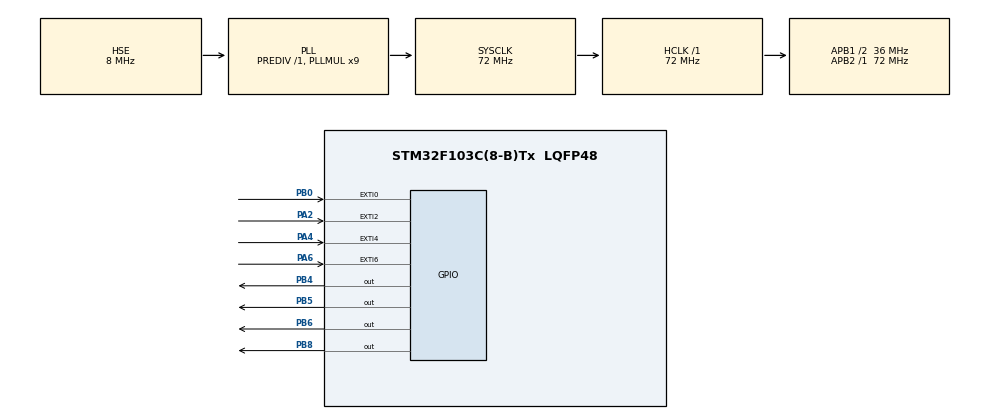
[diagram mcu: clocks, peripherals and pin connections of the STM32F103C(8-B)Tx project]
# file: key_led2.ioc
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Mcu.Family=STM32F1
Mcu.Name=STM32F103C(8-B)Tx
Mcu.Package=LQFP48
NVIC.EXTI0_IRQn=true\:0\:0\:false\:false\:true\:true\:true\:true
NVIC.EXTI2_IRQn=true\:0\:0\:false\:false\:true\:true\:true\:true
NVIC.EXTI4_IRQn=true\:0\:0\:false\:false\:true\:true\:true\:true
NVIC.EXTI9_5_IRQn=true\:0\:0\:false\:false\:true\:true\:true\:true
NVIC.PriorityGroup=NVIC_PRIORITYGROUP_4
PA0-WKUP.Mode=SYS_WakeUp0
PA0-WKUP.Signal=SYS_WKUP
PA13.Mode=Serial_Wire
PA13.Signal=SYS_JTMS-SWDIO
PA14.Mode=Serial_Wire
PA14.Signal=SYS_JTCK-SWCLK
PA2.GPIO_ModeDefaultEXTI=GPIO_MODE_IT_FALLING
PA2.GPIO_PuPd=GPIO_PULLUP
PA2.Signal=GPXTI2
PA4.GPIO_ModeDefaultEXTI=GPIO_MODE_IT_FALLING
PA4.GPIO_PuPd=GPIO_PULLUP
PA4.Signal=GPXTI4
PA6.GPIO_ModeDefaultEXTI=GPIO_MODE_IT_FALLING
PA6.GPIO_PuPd=GPIO_PULLUP
PA6.Signal=GPXTI6
PB0.GPIO_ModeDefaultEXTI=GPIO_MODE_IT_FALLING
PB0.GPIO_PuPd=GPIO_PULLUP
PB0.Signal=GPXTI0
PB4.PinState=GPIO_PIN_SET
PB4.Signal=GPIO_Output
PB5.PinState=GPIO_PIN_SET
PB5.Signal=GPIO_Output
PB6.PinState=GPIO_PIN_SET
PB6.Signal=GPIO_Output
PB8.PinState=GPIO_PIN_SET
PB8.Signal=GPIO_Output
PD0-OSC_IN.Mode=HSE-External-Oscillator
PD0-OSC_IN.Signal=RCC_OSC_IN
PD1-OSC_OUT.Mode=HSE-External-Oscillator
PD1-OSC_OUT.Signal=RCC_OSC_OUT
ProjectManager.HeapSize=0x200
ProjectManager.StackSize=0x400
ProjectManager.TargetToolchain=MDK-ARM V5.32
RCC.AHBFreq_Value=72000000
RCC.APB1CLKDivider=RCC_HCLK_DIV2
RCC.APB1Freq_Value=36000000
RCC.APB1TimFreq_Value=72000000
RCC.APB2Freq_Value=72000000
RCC.APB2TimFreq_Value=72000000
RCC.HCLKFreq_Value=72000000
RCC.PLLMUL=RCC_PLL_MUL9
RCC.PLLSourceVirtual=RCC_PLLSOURCE_HSE
RCC.SYSCLKFreq_VALUE=72000000
RCC.SYSCLKSource=RCC_SYSCLKSOURCE_PLLCLK
RCC.USBFreq_Value=72000000
board=custom

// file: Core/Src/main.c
/* USER CODE BEGIN Header */
/**
  ******************************************************************************
  * @file           : main.c
  * @brief          : Main program body
  ******************************************************************************
  * @attention
  *
  * Copyright (c) 2026 STMicroelectronics.
  * All rights reserved.
  *
  * This software is licensed under terms that can be found in the LICENSE file
  * in the root directory of this software component.
  * If no LICENSE file comes with this software, it is provided AS-IS.
  *
  ******************************************************************************
  */
/* USER CODE END Header */
#include "main.h"
#include "gpio.h"

/* USER CODE BEGIN PD */

/* LED 引脚定义（顺序：LED1~LED4） */
#define LED1_PIN   GPIO_PIN_4
#define LED1_PORT  GPIOB
#define LED2_PIN   GPIO_PIN_5
#define LED2_PORT  GPIOB
#define LED3_PIN   GPIO_PIN_6
#define LED3_PORT  GPIOB
#define LED4_PIN   GPIO_PIN_8
#define LED4_PORT  GPIOB

/* 流水灯移动间隔（毫秒），可调整速度 */
#define FLOW_INTERVAL  500
/* 按键消抖时间 */
#define DEBOUNCE_TIME  50

/* USER CODE END PD */

/* USER CODE BEGIN PV */
/* 当前流水灯模式：0-无，1-前→后，2-后→前，3-内→外，4-外→内 */
volatile uint8_t led_mode = 0;

/* 上一次模式切换的时间戳（用于消抖） */
static uint32_t last_mode_tick = 0;

/* 流水灯步进时间戳 */
static uint32_t last_flow_tick = 0;

/* 所有 LED 引脚和端口的数组，方便循环操作 */
static const uint16_t led_pins[] = {LED1_PIN, LED2_PIN, LED3_PIN, LED4_PIN};
static GPIO_TypeDef* const led_ports[] = {LED1_PORT, LED2_PORT, LED3_PORT, LED4_PORT};
#define LED_COUNT  (sizeof(led_pins)/sizeof(led_pins[0]))

/* USER CODE END PV */

void SystemClock_Config(void);

/* USER CODE BEGIN 0 */

/* 四个流水灯函数声明 */
static void flow_forward(void);
static void flow_backward(void);
static void flow_inner_to_outer(void);
static void flow_outer_to_inner(void);

/* 辅助函数声明 */
static void all_led_off(void);
static void led_on(uint8_t index);
static void set_leds_by_mask(uint8_t mask);
/* USER CODE END 0 */

int main(void)
{

  /* MCU Configuration--------------------------------------------------------*/

  /* Reset of all peripherals, Initializes the Flash interface and the Systick. */
  HAL_Init();

  /* Configure the system clock */
  SystemClock_Config();

  /* Initialize all configured peripherals */
  MX_GPIO_Init();

  /* Infinite loop */
  while (1)
  {

    /* USER CODE BEGIN 3 */

	switch (led_mode)
{
    case 1: flow_forward(); break;
    case 2: flow_backward(); break;
    case 3: flow_inner_to_outer(); break;
    case 4: flow_outer_to_inner(); break;
    default: all_led_off(); break;
}
  }
  /* USER CODE END 3 */
}

void SystemClock_Config(void)
{
  RCC_OscInitTypeDef RCC_OscInitStruct = {0};
  RCC_ClkInitTypeDef RCC_ClkInitStruct = {0};

  /** Initializes the RCC Oscillators according to the specified parameters
  * in the RCC_OscInitTypeDef structure.
  */
  RCC_OscInitStruct.OscillatorType = RCC_OSCILLATORTYPE_HSE;
  RCC_OscInitStruct.HSEState = RCC_HSE_ON;
  RCC_OscInitStruct.HSEPredivValue = RCC_HSE_PREDIV_DIV1;
  RCC_OscInitStruct.HSIState = RCC_HSI_ON;
  RCC_OscInitStruct.PLL.PLLState = RCC_PLL_ON;
  RCC_OscInitStruct.PLL.PLLSource = RCC_PLLSOURCE_HSE;
  RCC_OscInitStruct.PLL.PLLMUL = RCC_PLL_MUL9;
  if (HAL_RCC_OscConfig(&RCC_OscInitStruct) != HAL_OK)
  {
    Error_Handler();
  }

  /** Initializes the CPU, AHB and APB buses clocks
  */
  RCC_ClkInitStruct.ClockType = RCC_CLOCKTYPE_HCLK|RCC_CLOCKTYPE_SYSCLK
                              |RCC_CLOCKTYPE_PCLK1|RCC_CLOCKTYPE_PCLK2;
  RCC_ClkInitStruct.SYSCLKSource = RCC_SYSCLKSOURCE_PLLCLK;
  RCC_ClkInitStruct.AHBCLKDivider = RCC_SYSCLK_DIV1;
  RCC_ClkInitStruct.APB1CLKDivider = RCC_HCLK_DIV2;
  RCC_ClkInitStruct.APB2CLKDivider = RCC_HCLK_DIV1;

  if (HAL_RCC_ClockConfig(&RCC_ClkInitStruct, FLASH_LATENCY_2) != HAL_OK)
  {
    Error_Handler();
  }
}

/* USER CODE BEGIN 4 */
void HAL_GPIO_EXTI_Callback(uint16_t GPIO_Pin)
{
    uint32_t current_tick = HAL_GetTick();
    // 消抖：距离上次模式切换超过 DEBOUNCE_TIME 才响应
    if (current_tick - last_mode_tick < DEBOUNCE_TIME)
        return;

    switch (GPIO_Pin)
    {
        case GPIO_PIN_2:   // PA2 → 模式1：从前往后
            led_mode = 1;
            last_mode_tick = current_tick;
            break;
        case GPIO_PIN_4:   // PA4 → 模式2：从后往前
            led_mode = 2;
            last_mode_tick = current_tick;
            break;
        case GPIO_PIN_6:   // PA6 → 模式3：从内向外
            led_mode = 3;
            last_mode_tick = current_tick;
            break;
        case GPIO_PIN_0:   // PB0 → 模式4：从外向内
            led_mode = 4;
            last_mode_tick = current_tick;
            break;
        default:
            break;
    }
}

/* 熄灭所有 LED */
static void all_led_off(void)
{
    for (int i = 0; i < LED_COUNT; i++) {
        HAL_GPIO_WritePin(led_ports[i], led_pins[i], GPIO_PIN_SET);  // 高电平熄灭（因输出初始高）
    }
}

/* 点亮指定索引的 LED（0~3） */
static void led_on(uint8_t index)
{
    if (index < LED_COUNT) {
        HAL_GPIO_WritePin(led_ports[index], led_pins[index], GPIO_PIN_RESET); // 低电平点亮
    }
}

/* 根据 4 位掩码设置 LED 状态（bit0→LED1, bit1→LED2, … 1=点亮） */
static void set_leds_by_mask(uint8_t mask)
{
    for (int i = 0; i < LED_COUNT; i++) {
        if (mask & (1 << i))
            HAL_GPIO_WritePin(led_ports[i], led_pins[i], GPIO_PIN_RESET);
        else
            HAL_GPIO_WritePin(led_ports[i], led_pins[i], GPIO_PIN_SET);
    }
}

/* 模式1：从前往后依次点亮（LED1→LED2→LED3→LED4 循环） */
static void flow_forward(void)
{
    static uint8_t step = 0;
    uint32_t now = HAL_GetTick();
    if (now - last_flow_tick >= FLOW_INTERVAL) {
        all_led_off();
        led_on(step);
        step = (step + 1) % LED_COUNT;
        last_flow_tick = now;
    }
}

/* 模式2：从后往前依次点亮（LED4→LED3→LED2→LED1 循环） */
static void flow_backward(void)
{
    static uint8_t step = 0;
    uint32_t now = HAL_GetTick();
    if (now - last_flow_tick >= FLOW_INTERVAL) {
        all_led_off();
        led_on(LED_COUNT - 1 - step);
        step = (step + 1) % LED_COUNT;
        last_flow_tick = now;
    }
}

/* 模式3：从内向外扩散（先亮中间两个 LED2,LED3，再全亮，再全灭，循环） */
static void flow_inner_to_outer(void)
{
    static uint8_t step = 0;
    uint32_t now = HAL_GetTick();
    if (now - last_flow_tick >= FLOW_INTERVAL) {
        switch (step) {
            case 0: set_leds_by_mask(0x06); break;  // 亮 LED2, LED3 (二进制 0110)
            case 1: set_leds_by_mask(0x0F); break;  // 全亮 (二进制 1111)
            case 2: all_led_off(); break;           // 全灭
        }
        step = (step + 1) % 3;
        last_flow_tick = now;
    }
}

/* 模式4：从外向内（先亮两边 LED1,LED4，再全亮，再全灭，循环） */
static void flow_outer_to_inner(void)
{
    static uint8_t step = 0;
    uint32_t now = HAL_GetTick();
    if (now - last_flow_tick >= FLOW_INTERVAL) {
        switch (step) {
            case 0: set_leds_by_mask(0x09); break;  // 亮 LED1, LED4 (二进制 1001)
            case 1: set_leds_by_mask(0x0F); break;  // 全亮
            case 2: all_led_off(); break;           // 全灭
        }
        step = (step + 1) % 3;
        last_flow_tick = now;
    }
}

/* USER CODE END 4 */

void Error_Handler(void)
{
  __disable_irq();
  while (1)
  {
  }
}
